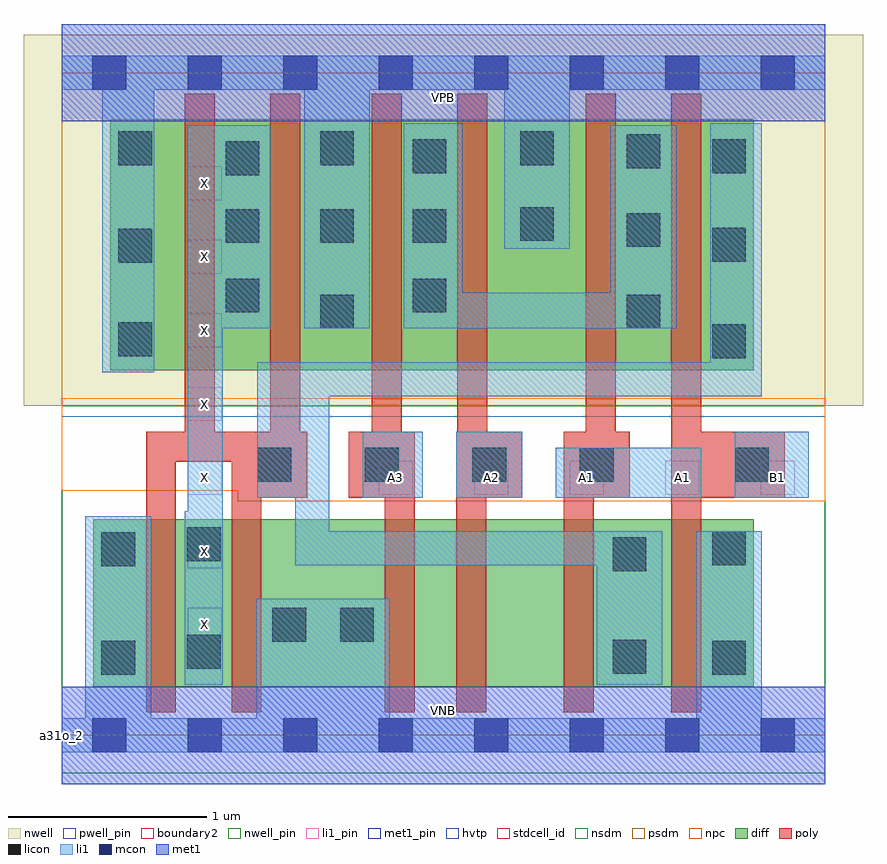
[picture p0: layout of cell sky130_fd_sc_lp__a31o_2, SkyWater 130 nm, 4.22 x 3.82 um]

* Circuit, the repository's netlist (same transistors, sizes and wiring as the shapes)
* Copyright 2020 The SkyWater PDK Authors
*
* Licensed under the Apache License, Version 2.0 (the "License");
* you may not use this file except in compliance with the License.
* You may obtain a copy of the License at
*
*     https://www.apache.org/licenses/LICENSE-2.0
*
* Unless required by applicable law or agreed to in writing, software
* distributed under the License is distributed on an "AS IS" BASIS,
* WITHOUT WARRANTIES OR CONDITIONS OF ANY KIND, either express or implied.
* See the License for the specific language governing permissions and
* limitations under the License.
*
* SPDX-License-Identifier: Apache-2.0

.SUBCKT sky130_fd_sc_lp__a31o_2 A1 A2 A3 B1 VGND VNB VPB VPWR X
*.PININFO A1:I A2:I A3:I B1:I VGND:I VNB:I VPB:I VPWR:I X:O
MMPA0 pndA A1 VPWR VPB sky130_fd_pr__pfet_01v8_hvt m=1 w=1.26U l=0.15U mult=1 sa=0.265
+ sb=0.265 sd=0.28 area=0.063 perim=1.14
MMPA1 pndA A2 VPWR VPB sky130_fd_pr__pfet_01v8_hvt m=1 w=1.26U l=0.15U mult=1 sa=0.265
+ sb=0.265 sd=0.28 area=0.063 perim=1.14
MMPA2 pndA A3 VPWR VPB sky130_fd_pr__pfet_01v8_hvt m=1 w=1.26U l=0.15U mult=1 sa=0.265
+ sb=0.265 sd=0.28 area=0.063 perim=1.14
MMPB0 y B1 pndA VPB sky130_fd_pr__pfet_01v8_hvt m=1 w=1.26U l=0.15U mult=1 sa=0.265
+ sb=0.265 sd=0.28 area=0.063 perim=1.14
MMIPX X y VPWR VPB sky130_fd_pr__pfet_01v8_hvt m=2 w=1.26U l=0.15U mult=1 sa=0.265
+ sb=0.265 sd=0.28 area=0.063 perim=1.14
MMNA0 y A1 sndA1 VNB sky130_fd_pr__nfet_01v8 m=1 w=0.84U l=0.15U mult=1 sa=0.265
+ sb=0.265 sd=0.28 area=0.063 perim=1.14
MMNA1 sndA1 A2 sndA2 VNB sky130_fd_pr__nfet_01v8 m=1 w=0.84U l=0.15U mult=1 sa=0.265
+ sb=0.265 sd=0.28 area=0.063 perim=1.14
MMNA2 sndA2 A3 VGND VNB sky130_fd_pr__nfet_01v8 m=1 w=0.84U l=0.15U mult=1 sa=0.265
+ sb=0.265 sd=0.28 area=0.063 perim=1.14
MMNB0 y B1 VGND VNB sky130_fd_pr__nfet_01v8 m=1 w=0.84U l=0.15U mult=1 sa=0.265
+ sb=0.265 sd=0.28 area=0.063 perim=1.14
MMINX X y VGND VNB sky130_fd_pr__nfet_01v8 m=2 w=0.84U l=0.15U mult=1 sa=0.265
+ sb=0.265 sd=0.28 area=0.063 perim=1.14
.ENDS sky130_fd_sc_lp__a31o_2

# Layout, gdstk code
import gdstk
lib = gdstk.Library(unit=1e-6, precision=1e-09)
def R(c, l, rs):  # rectangles x0, y0, x1, y1
    for r in rs: c.add(gdstk.rectangle(r[:2], r[2:], *l))
def A(c, l, x, y, w, h, nx, ny, dx, dy):  # array of equal rectangles
    R(c, l, [(x+i*dx, y+j*dy, x+i*dx+w, y+j*dy+h) for i in range(nx) for j in range(ny)])
def P(c, l, *ps):  # polygons
    for p in ps: c.add(gdstk.Polygon(p, *l))
nwell_pin = (64, 16)
nwell = (64, 20)
diff = (65, 20)
poly = (66, 20)
licon = (66, 44)
li1_pin = (67, 16)
li1 = (67, 20)
mcon = (67, 44)
met1_pin = (68, 16)
met1 = (68, 20)
hvtp = (78, 44)
stdcell_id = (81, 4)
nsdm = (93, 44)
psdm = (94, 20)
npc = (95, 20)
pwell_pin = (122, 16)
boundary2 = (236, 0)

sky130_fd_sc_lp__a31o_2 = lib.new_cell('sky130_fd_sc_lp__a31o_2')
R(sky130_fd_sc_lp__a31o_2, nwell_pin, [(0,3.085,3.84,3.33)])
R(sky130_fd_sc_lp__a31o_2, nwell, [(-0.19,1.655,4.03,3.52)])
R(sky130_fd_sc_lp__a31o_2, diff, [(0.16,0.245,3.48,1.085), (0.245,1.835,3.48,3.095)])
P(sky130_fd_sc_lp__a31o_2, poly, [(1.235,1.525),(1.2,1.525),(1.2,3.225),(1.05,3.225),(1.05,1.525),(0.77,1.525),(0.77,3.225),(0.62,3.225),(0.62,1.525),(0.425,1.525),(0.425,0.115),(0.575,0.115),(0.575,1.375),(0.855,1.375),(0.855,0.115),(1.005,0.115),(1.005,1.195),(1.235,1.195)],
  [(1.775,1.525),(1.71,1.525),(1.71,3.225),(1.56,3.225),(1.56,1.525),(1.445,1.525),(1.445,1.195),(1.625,1.195),(1.625,0.115),(1.775,0.115)],
  [(2.315,1.525),(2.14,1.525),(2.14,3.225),(1.99,3.225),(1.99,1.525),(1.985,1.525),(1.985,0.115),(2.135,0.115),(2.135,1.195),(2.315,1.195)],
  [(2.855,1.525),(2.785,1.525),(2.785,3.225),(2.635,3.225),(2.635,1.525),(2.525,1.525),(2.525,0.115),(2.675,0.115),(2.675,1.195),(2.855,1.195)],
  [(3.635,1.525),(3.215,1.525),(3.215,3.225),(3.065,3.225),(3.065,0.115),(3.215,0.115),(3.215,1.195),(3.635,1.195)])
A(sky130_fd_sc_lp__a31o_2, licon, 0.985, 1.275, 0.17, 0.17, 4, 1, 0.54, 0)
A(sky130_fd_sc_lp__a31o_2, licon, 1.765, 2.125, 0.17, 0.17, 1, 3, 0, 0.35)
R(sky130_fd_sc_lp__a31o_2, licon, [(0.2,0.305,0.37,0.475), (3.27,0.305,3.44,0.475), (2.77,0.31,2.94,0.48), (0.63,0.335,0.8,0.505), (1.06,0.47,1.23,0.64), (1.4,0.47,1.57,0.64), (2.77,0.825,2.94,0.995), (0.2,0.85,0.37,1.02), (3.27,0.855,3.44,1.025), (0.63,0.875,0.8,1.045), (3.385,1.275,3.555,1.445), (3.27,1.895,3.44,2.065), (0.285,1.905,0.455,2.075), (1.3,2.045,1.47,2.215), (2.84,2.045,3.01,2.215), (0.825,2.125,0.995,2.295), (0.285,2.375,0.455,2.545), (3.27,2.38,3.44,2.55), (2.84,2.455,3.01,2.625), (0.825,2.475,0.995,2.645), (1.3,2.475,1.47,2.645), (2.305,2.485,2.475,2.655), (0.825,2.815,0.995,2.985), (3.27,2.825,3.44,2.995), (2.84,2.85,3.01,3.02), (0.285,2.865,0.455,3.035), (1.3,2.865,1.47,3.035), (2.305,2.865,2.475,3.035)])
A(sky130_fd_sc_lp__a31o_2, li1_pin, 0.635, 0.47, 0.17, 0.17, 1, 7, 0, 0.37)
A(sky130_fd_sc_lp__a31o_2, li1_pin, 1.595, 1.21, 0.17, 0.17, 5, 1, 0.48, 0)
R(sky130_fd_sc_lp__a31o_2, li1, [(1.515,1.195,1.815,1.525), (1.985,1.195,2.315,1.525), (2.485,1.195,3.215,1.445), (3.385,1.195,3.755,1.525)])
P(sky130_fd_sc_lp__a31o_2, li1, [(1.22,2.045),(1.22,3.245),(0.465,3.245),(0.465,1.825),(0.205,1.825),(0.205,3.245),(0,3.245),(0,3.415),(3.84,3.415),(3.84,3.245),(2.555,3.245),(2.555,2.445),(2.225,2.445),(2.225,3.245),(1.55,3.245),(1.55,2.045)],
  [(0.98,0.085),(0.98,0.685),(1.65,0.685),(1.65,0.085),(3.19,0.085),(3.19,1.025),(3.52,1.025),(3.52,0.085),(3.84,0.085),(3.84,-0.085),(0,-0.085),(0,0.085),(0.12,0.085),(0.12,1.1),(0.45,1.1),(0.45,0.085)],
  [(1.05,3.065),(0.635,3.065),(0.635,1.125),(0.62,1.125),(0.62,0.255),(0.81,0.255),(0.81,2.045),(1.05,2.045)],
  [(0.985,1.875),(3.26,1.875),(3.26,3.075),(3.52,3.075),(3.52,1.705),(1.345,1.705),(1.345,1.025),(3.02,1.025),(3.02,0.255),(2.69,0.255),(2.69,0.855),(1.175,0.855),(1.175,1.195),(0.985,1.195)],
  [(2.015,2.225),(2.76,2.225),(2.76,3.065),(3.09,3.065),(3.09,2.045),(1.72,2.045),(1.72,3.075),(2.015,3.075)])
A(sky130_fd_sc_lp__a31o_2, mcon, 0.155, -0.085, 0.17, 0.17, 8, 2, 0.48, 3.33)
R(sky130_fd_sc_lp__a31o_2, met1_pin, [(0,0,3.84,0.245), (0,3.085,3.84,3.33)])
R(sky130_fd_sc_lp__a31o_2, met1, [(0,-0.245,3.84,0.245), (0,3.085,3.84,3.575)])
R(sky130_fd_sc_lp__a31o_2, hvtp, [(0,1.6,3.84,3.33)])
R(sky130_fd_sc_lp__a31o_2, stdcell_id, [(0,0,3.84,3.33)])
R(sky130_fd_sc_lp__a31o_2, nsdm, [(0,-0.19,3.84,1.655)])
R(sky130_fd_sc_lp__a31o_2, psdm, [(0,1.655,3.84,3.52)])
P(sky130_fd_sc_lp__a31o_2, npc, [(3.84,1.695),(0,1.695),(0,1.23),(0.885,1.23),(0.885,1.175),(3.84,1.175)])
R(sky130_fd_sc_lp__a31o_2, pwell_pin, [(0,0,3.84,0.245)])
R(sky130_fd_sc_lp__a31o_2, boundary2, [(0,0,3.84,3.33)])
sky130_fd_sc_lp__a31o_2.add(gdstk.Label('VNB', (1.92,0.123), layer=64, texttype=59))
sky130_fd_sc_lp__a31o_2.add(gdstk.Label('VPB', (1.92,3.208), layer=64, texttype=5))
sky130_fd_sc_lp__a31o_2.add(gdstk.Label('a31o_2', (0,0), layer=83, texttype=44))
sky130_fd_sc_lp__a31o_2.add(gdstk.Label('VPWR', (1.92,3.208), layer=68, texttype=5))
sky130_fd_sc_lp__a31o_2.add(gdstk.Label('VGND', (1.92,0.123), layer=68, texttype=5))
sky130_fd_sc_lp__a31o_2.add(gdstk.Label('X', (0.72,0.555), layer=67, texttype=5))
sky130_fd_sc_lp__a31o_2.add(gdstk.Label('X', (0.72,0.925), layer=67, texttype=5))
sky130_fd_sc_lp__a31o_2.add(gdstk.Label('X', (0.72,1.295), layer=67, texttype=5))
sky130_fd_sc_lp__a31o_2.add(gdstk.Label('X', (0.72,1.665), layer=67, texttype=5))
sky130_fd_sc_lp__a31o_2.add(gdstk.Label('X', (0.72,2.035), layer=67, texttype=5))
sky130_fd_sc_lp__a31o_2.add(gdstk.Label('X', (0.72,2.405), layer=67, texttype=5))
sky130_fd_sc_lp__a31o_2.add(gdstk.Label('X', (0.72,2.775), layer=67, texttype=5))
sky130_fd_sc_lp__a31o_2.add(gdstk.Label('A1', (2.64,1.295), layer=67, texttype=5))
sky130_fd_sc_lp__a31o_2.add(gdstk.Label('A1', (3.12,1.295), layer=67, texttype=5))
sky130_fd_sc_lp__a31o_2.add(gdstk.Label('A2', (2.16,1.295), layer=67, texttype=5))
sky130_fd_sc_lp__a31o_2.add(gdstk.Label('A3', (1.68,1.295), layer=67, texttype=5))
sky130_fd_sc_lp__a31o_2.add(gdstk.Label('B1', (3.6,1.295), layer=67, texttype=5))

lib.write_gds('sky130_fd_sc_lp__a31o_2.gds')
